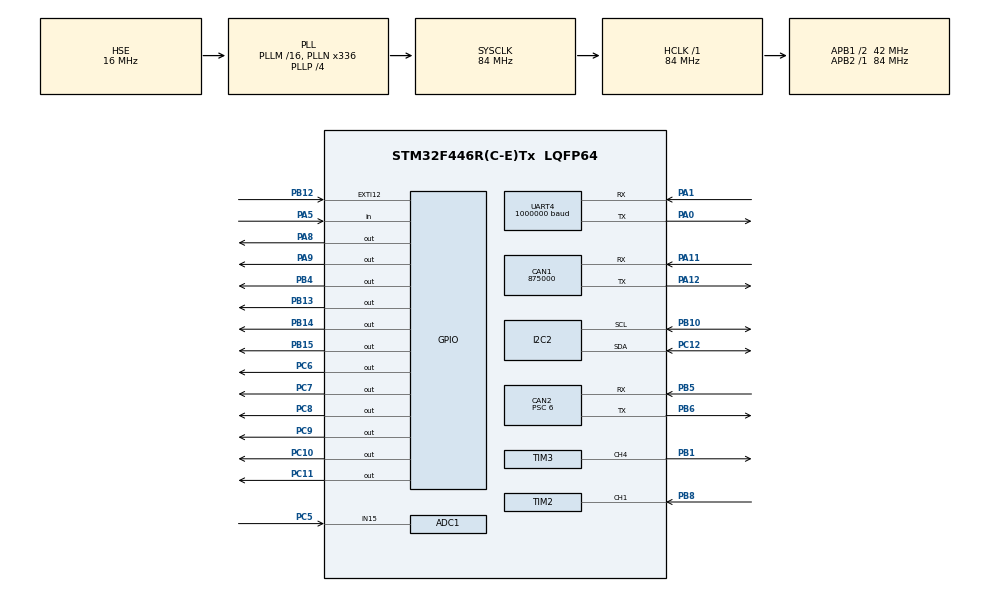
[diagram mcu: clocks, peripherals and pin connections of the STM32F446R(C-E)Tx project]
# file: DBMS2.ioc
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ADC1.Channel-0\#ChannelRegularConversion=ADC_CHANNEL_15
ADC1.NbrOfConversionFlag=1
ADC1.Rank-0\#ChannelRegularConversion=1
ADC1.SamplingTime-0\#ChannelRegularConversion=ADC_SAMPLETIME_3CYCLES
ADC1.master=1
CAN1.CalculateBaudRate=875000
CAN1.CalculateTimeBit=1142
CAN1.CalculateTimeQuantum=380.95238095238096
CAN2.BS1=CAN_BS1_5TQ
CAN2.BS2=CAN_BS2_1TQ
CAN2.CalculateBaudRate=1000000
CAN2.CalculateTimeBit=1000
CAN2.CalculateTimeQuantum=142.85714285714286
CAN2.NART=ENABLE
CAN2.Prescaler=6
IWDG.Prescaler=IWDG_PRESCALER_64
Mcu.Family=STM32F4
Mcu.Name=STM32F446R(C-E)Tx
Mcu.Package=LQFP64
NVIC.CAN2_RX0_IRQn=true\:0\:0\:false\:false\:true\:true\:true\:true
NVIC.CAN2_RX1_IRQn=true\:0\:0\:false\:false\:true\:true\:true\:true
NVIC.CAN2_TX_IRQn=true\:0\:0\:false\:false\:true\:true\:true\:true
NVIC.EXTI15_10_IRQn=true\:2\:0\:true\:false\:true\:true\:true\:true
NVIC.PriorityGroup=NVIC_PRIORITYGROUP_4
NVIC.TIM2_IRQn=true\:0\:0\:false\:false\:true\:true\:true\:true
PA0-WKUP.Mode=Asynchronous
PA0-WKUP.Signal=UART4_TX
PA1.Mode=Asynchronous
PA1.Signal=UART4_RX
PA11.Mode=CAN_Activate
PA11.Signal=CAN1_RX
PA12.Mode=CAN_Activate
PA12.Signal=CAN1_TX
PA5.Signal=GPIO_Input
PA8.Signal=GPIO_Output
PA9.Signal=GPIO_Output
PB1.Signal=S_TIM3_CH4
PB10.Mode=I2C
PB10.Signal=I2C2_SCL
PB12.Signal=GPXTI12
PB13.Signal=GPIO_Output
PB14.Signal=GPIO_Output
PB15.Signal=GPIO_Output
PB4.Signal=GPIO_Output
PB5.Mode=CAN_Activate
PB5.Signal=CAN2_RX
PB6.Mode=CAN_Activate
PB6.Signal=CAN2_TX
PB8.Signal=S_TIM2_CH1_ETR
PB9.Signal=S_TIM2_CH2
PC10.Signal=GPIO_Output
PC11.Signal=GPIO_Output
PC12.Mode=I2C
PC12.Signal=I2C2_SDA
PC5.Signal=ADCx_IN15
PC6.Signal=GPIO_Output
PC7.Signal=GPIO_Output
PC8.Signal=GPIO_Output
PC9.Signal=GPIO_Output
PH0-OSC_IN.Mode=HSE-External-Oscillator
PH0-OSC_IN.Signal=RCC_OSC_IN
PH1-OSC_OUT.Mode=HSE-External-Oscillator
PH1-OSC_OUT.Signal=RCC_OSC_OUT
ProjectManager.HeapSize=0x200
ProjectManager.StackSize=0x400
ProjectManager.TargetToolchain=STM32CubeIDE
RCC.AHBFreq_Value=84000000
RCC.APB1CLKDivider=RCC_HCLK_DIV2
RCC.APB1Freq_Value=42000000
RCC.APB1TimFreq_Value=84000000
RCC.APB2Freq_Value=84000000
RCC.APB2TimFreq_Value=84000000
RCC.CortexFreq_Value=84000000
RCC.HCLKFreq_Value=84000000
RCC.HSE_VALUE=16000000
RCC.PLLN=336
RCC.PLLP=RCC_PLLP_DIV4
RCC.PLLSourceVirtual=RCC_PLLSOURCE_HSE
RCC.SYSCLKFreq_VALUE=84000000
RCC.SYSCLKSource=RCC_SYSCLKSOURCE_PLLCLK
RCC.USBFreq_Value=168000000
RCC.VCOOutputFreq_Value=336000000
SH.ADCx_IN15.0=ADC1_IN15,IN15
SH.S_TIM2_CH1_ETR.0=TIM2_CH1,PWM_Input_1
SH.S_TIM2_CH2.0=TIM2_CH2
SH.S_TIM3_CH4.0=TIM3_CH4,PWM Generation4 CH4
TIM1.Prescaler=83
TIM2.Prescaler=15999
TIM3.Channel-PWM\ Generation4\ CH4=TIM_CHANNEL_4
TIM5.Prescaler=83
UART4.BaudRate=1000000
UART4.VirtualMode=Asynchronous
VP_IWDG_VS_IWDG.Mode=IWDG_Activate
VP_TIM1_VS_ClockSourceINT.Mode=Internal
VP_TIM2_VS_ClockSourceINT.Mode=Internal
VP_TIM3_VS_ClockSourceINT.Mode=Internal
VP_TIM5_VS_ClockSourceINT.Mode=Internal
board=custom

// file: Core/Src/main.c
/* USER CODE BEGIN Header */
/**
 *
 * Distributed BMS      STM32 Generated File
 *
 * Copyright (C) 2025   Texas A&M University
 *
 *                      Justus Languell  <justus@tamu.edu>
 *                      Cam Stone        <cameron28202@tamu.edu>
 *                      Abhinav Akavaram <abhinav.akavaram@tamu.edu>
 *                      Eli Nicksic      <eli.n@tamu.edu>
 */
/* USER CODE END Header */
#include "main.h"

/* USER CODE BEGIN Includes */

#include "dbms/dbms.h"

/* USER CODE END Includes */

ADC_HandleTypeDef hadc1;

CAN_HandleTypeDef hcan1;
CAN_HandleTypeDef hcan2;

I2C_HandleTypeDef hi2c2;

TIM_HandleTypeDef htim1;
TIM_HandleTypeDef htim2;
TIM_HandleTypeDef htim3;
TIM_HandleTypeDef htim5;

UART_HandleTypeDef huart4;

/* USER CODE BEGIN PV */

static DbmsCtx dbms_ctx;

/* USER CODE END PV */

void SystemClock_Config(void);
static void MX_GPIO_Init(void);
static void MX_ADC1_Init(void);
static void MX_CAN2_Init(void);
static void MX_TIM1_Init(void);
static void MX_UART4_Init(void);
static void MX_I2C2_Init(void);
static void MX_TIM2_Init(void);
static void MX_TIM3_Init(void);
static void MX_CAN1_Init(void);
static void MX_TIM5_Init(void);

int main(void)
{

  /* MCU Configuration--------------------------------------------------------*/

  /* Reset of all peripherals, Initializes the Flash interface and the Systick. */
  HAL_Init();

  /* Configure the system clock */
  SystemClock_Config();

  /* Initialize all configured peripherals */
  MX_GPIO_Init();
  MX_ADC1_Init();
  MX_CAN2_Init();
  MX_TIM1_Init();
  MX_UART4_Init();
  MX_I2C2_Init();
  MX_TIM2_Init();
  MX_TIM3_Init();
  MX_CAN1_Init();
  MX_TIM5_Init();
  /* USER CODE BEGIN 2 */

  dbms_ctx.hw.adc = &hadc1;
  dbms_ctx.hw.can = &hcan2;
  dbms_ctx.hw.timer = &htim5;
  dbms_ctx.hw.timer_pwm_1 = &htim3;
  dbms_ctx.hw.uart = &huart4;
  dbms_ctx.hw.i2c = &hi2c2;

  DbmsAlloc(&dbms_ctx);
DbmsInit(&dbms_ctx);

  /* USER CODE END 2 */

  /* Infinite loop */
  /* USER CODE BEGIN WHILE */
  while (1)
  {
    DbmsIter(&dbms_ctx);
    /* USER CODE END WHILE */

  }
}

void SystemClock_Config(void)
{
  RCC_OscInitTypeDef RCC_OscInitStruct = {0};
  RCC_ClkInitTypeDef RCC_ClkInitStruct = {0};

  /** Configure the main internal regulator output voltage
  */
  __HAL_RCC_PWR_CLK_ENABLE();
  __HAL_PWR_VOLTAGESCALING_CONFIG(PWR_REGULATOR_VOLTAGE_SCALE3);

  /** Initializes the RCC Oscillators according to the specified parameters
  * in the RCC_OscInitTypeDef structure.
  */
  RCC_OscInitStruct.OscillatorType = RCC_OSCILLATORTYPE_HSE;
  RCC_OscInitStruct.HSEState = RCC_HSE_ON;
  RCC_OscInitStruct.PLL.PLLState = RCC_PLL_ON;
  RCC_OscInitStruct.PLL.PLLSource = RCC_PLLSOURCE_HSE;
  RCC_OscInitStruct.PLL.PLLM = 16;
  RCC_OscInitStruct.PLL.PLLN = 336;
  RCC_OscInitStruct.PLL.PLLP = RCC_PLLP_DIV4;
  RCC_OscInitStruct.PLL.PLLQ = 2;
  RCC_OscInitStruct.PLL.PLLR = 2;
  if (HAL_RCC_OscConfig(&RCC_OscInitStruct) != HAL_OK)
  {
    Error_Handler();
  }

  /** Initializes the CPU, AHB and APB buses clocks
  */
  RCC_ClkInitStruct.ClockType = RCC_CLOCKTYPE_HCLK|RCC_CLOCKTYPE_SYSCLK
                              |RCC_CLOCKTYPE_PCLK1|RCC_CLOCKTYPE_PCLK2;
  RCC_ClkInitStruct.SYSCLKSource = RCC_SYSCLKSOURCE_PLLCLK;
  RCC_ClkInitStruct.AHBCLKDivider = RCC_SYSCLK_DIV1;
  RCC_ClkInitStruct.APB1CLKDivider = RCC_HCLK_DIV2;
  RCC_ClkInitStruct.APB2CLKDivider = RCC_HCLK_DIV1;

  if (HAL_RCC_ClockConfig(&RCC_ClkInitStruct, FLASH_LATENCY_2) != HAL_OK)
  {
    Error_Handler();
  }
}

static void MX_ADC1_Init(void)
{

  ADC_ChannelConfTypeDef sConfig = {0};

  /** Configure the global features of the ADC (Clock, Resolution, Data Alignment and number of conversion)
  */
  hadc1.Instance = ADC1;
  hadc1.Init.ClockPrescaler = ADC_CLOCK_SYNC_PCLK_DIV4;
  hadc1.Init.Resolution = ADC_RESOLUTION_12B;
  hadc1.Init.ScanConvMode = DISABLE;
  hadc1.Init.ContinuousConvMode = DISABLE;
  hadc1.Init.DiscontinuousConvMode = DISABLE;
  hadc1.Init.ExternalTrigConvEdge = ADC_EXTERNALTRIGCONVEDGE_NONE;
  hadc1.Init.ExternalTrigConv = ADC_SOFTWARE_START;
  hadc1.Init.DataAlign = ADC_DATAALIGN_RIGHT;
  hadc1.Init.NbrOfConversion = 1;
  hadc1.Init.DMAContinuousRequests = DISABLE;
  hadc1.Init.EOCSelection = ADC_EOC_SINGLE_CONV;
  if (HAL_ADC_Init(&hadc1) != HAL_OK)
  {
    Error_Handler();
  }

  /** Configure for the selected ADC regular channel its corresponding rank in the sequencer and its sample time.
  */
  sConfig.Channel = ADC_CHANNEL_15;
  sConfig.Rank = 1;
  sConfig.SamplingTime = ADC_SAMPLETIME_3CYCLES;
  if (HAL_ADC_ConfigChannel(&hadc1, &sConfig) != HAL_OK)
  {
    Error_Handler();
  }

}

static void MX_CAN1_Init(void)
{

  hcan1.Instance = CAN1;
  hcan1.Init.Prescaler = 16;
  hcan1.Init.Mode = CAN_MODE_NORMAL;
  hcan1.Init.SyncJumpWidth = CAN_SJW_1TQ;
  hcan1.Init.TimeSeg1 = CAN_BS1_1TQ;
  hcan1.Init.TimeSeg2 = CAN_BS2_1TQ;
  hcan1.Init.TimeTriggeredMode = DISABLE;
  hcan1.Init.AutoBusOff = DISABLE;
  hcan1.Init.AutoWakeUp = DISABLE;
  hcan1.Init.AutoRetransmission = DISABLE;
  hcan1.Init.ReceiveFifoLocked = DISABLE;
  hcan1.Init.TransmitFifoPriority = DISABLE;
  if (HAL_CAN_Init(&hcan1) != HAL_OK)
  {
    Error_Handler();
  }

}

static void MX_CAN2_Init(void)
{

  /* USER CODE BEGIN CAN2_Init 1 */

  // hcan2.Init.Prescaler | Baud Rate
  // ---------------------+----------
  // 6                    | 1M
  // 12                   | 500K

  /* USER CODE END CAN2_Init 1 */
  hcan2.Instance = CAN2;
  hcan2.Init.Prescaler = 6;
  hcan2.Init.Mode = CAN_MODE_NORMAL;
  hcan2.Init.SyncJumpWidth = CAN_SJW_1TQ;
  hcan2.Init.TimeSeg1 = CAN_BS1_5TQ;
  hcan2.Init.TimeSeg2 = CAN_BS2_1TQ;
  hcan2.Init.TimeTriggeredMode = DISABLE;
  hcan2.Init.AutoBusOff = DISABLE;
  hcan2.Init.AutoWakeUp = DISABLE;
  hcan2.Init.AutoRetransmission = ENABLE;
  hcan2.Init.ReceiveFifoLocked = DISABLE;
  hcan2.Init.TransmitFifoPriority = DISABLE;
  if (HAL_CAN_Init(&hcan2) != HAL_OK)
  {
    Error_Handler();
  }

}

static void MX_I2C2_Init(void)
{

  hi2c2.Instance = I2C2;
  hi2c2.Init.ClockSpeed = 100000;
  hi2c2.Init.DutyCycle = I2C_DUTYCYCLE_2;
  hi2c2.Init.OwnAddress1 = 0;
  hi2c2.Init.AddressingMode = I2C_ADDRESSINGMODE_7BIT;
  hi2c2.Init.DualAddressMode = I2C_DUALADDRESS_DISABLE;
  hi2c2.Init.OwnAddress2 = 0;
  hi2c2.Init.GeneralCallMode = I2C_GENERALCALL_DISABLE;
  hi2c2.Init.NoStretchMode = I2C_NOSTRETCH_DISABLE;
  if (HAL_I2C_Init(&hi2c2) != HAL_OK)
  {
    Error_Handler();
  }

}

static void MX_TIM1_Init(void)
{

  TIM_ClockConfigTypeDef sClockSourceConfig = {0};
  TIM_MasterConfigTypeDef sMasterConfig = {0};

  htim1.Instance = TIM1;
  htim1.Init.Prescaler = 83;
  htim1.Init.CounterMode = TIM_COUNTERMODE_UP;
  htim1.Init.Period = 65535;
  htim1.Init.ClockDivision = TIM_CLOCKDIVISION_DIV1;
  htim1.Init.RepetitionCounter = 0;
  htim1.Init.AutoReloadPreload = TIM_AUTORELOAD_PRELOAD_DISABLE;
  if (HAL_TIM_Base_Init(&htim1) != HAL_OK)
  {
    Error_Handler();
  }
  sClockSourceConfig.ClockSource = TIM_CLOCKSOURCE_INTERNAL;
  if (HAL_TIM_ConfigClockSource(&htim1, &sClockSourceConfig) != HAL_OK)
  {
    Error_Handler();
  }
  sMasterConfig.MasterOutputTrigger = TIM_TRGO_RESET;
  sMasterConfig.MasterSlaveMode = TIM_MASTERSLAVEMODE_DISABLE;
  if (HAL_TIMEx_MasterConfigSynchronization(&htim1, &sMasterConfig) != HAL_OK)
  {
    Error_Handler();
  }

}

static void MX_TIM2_Init(void)
{

  TIM_ClockConfigTypeDef sClockSourceConfig = {0};
  TIM_SlaveConfigTypeDef sSlaveConfig = {0};
  TIM_IC_InitTypeDef sConfigIC = {0};
  TIM_MasterConfigTypeDef sMasterConfig = {0};

  htim2.Instance = TIM2;
  htim2.Init.Prescaler = 15999;
  htim2.Init.CounterMode = TIM_COUNTERMODE_UP;
  htim2.Init.Period = 4294967295;
  htim2.Init.ClockDivision = TIM_CLOCKDIVISION_DIV1;
  htim2.Init.AutoReloadPreload = TIM_AUTORELOAD_PRELOAD_DISABLE;
  if (HAL_TIM_Base_Init(&htim2) != HAL_OK)
  {
    Error_Handler();
  }
  sClockSourceConfig.ClockSource = TIM_CLOCKSOURCE_INTERNAL;
  if (HAL_TIM_ConfigClockSource(&htim2, &sClockSourceConfig) != HAL_OK)
  {
    Error_Handler();
  }
  if (HAL_TIM_IC_Init(&htim2) != HAL_OK)
  {
    Error_Handler();
  }
  sSlaveConfig.SlaveMode = TIM_SLAVEMODE_RESET;
  sSlaveConfig.InputTrigger = TIM_TS_TI1FP1;
  sSlaveConfig.TriggerPolarity = TIM_INPUTCHANNELPOLARITY_RISING;
  sSlaveConfig.TriggerPrescaler = TIM_ICPSC_DIV1;
  sSlaveConfig.TriggerFilter = 0;
  if (HAL_TIM_SlaveConfigSynchro(&htim2, &sSlaveConfig) != HAL_OK)
  {
    Error_Handler();
  }
  sConfigIC.ICPolarity = TIM_INPUTCHANNELPOLARITY_RISING;
  sConfigIC.ICSelection = TIM_ICSELECTION_DIRECTTI;
  sConfigIC.ICPrescaler = TIM_ICPSC_DIV1;
  sConfigIC.ICFilter = 0;
  if (HAL_TIM_IC_ConfigChannel(&htim2, &sConfigIC, TIM_CHANNEL_1) != HAL_OK)
  {
    Error_Handler();
  }
  sConfigIC.ICPolarity = TIM_INPUTCHANNELPOLARITY_FALLING;
  sConfigIC.ICSelection = TIM_ICSELECTION_INDIRECTTI;
  if (HAL_TIM_IC_ConfigChannel(&htim2, &sConfigIC, TIM_CHANNEL_2) != HAL_OK)
  {
    Error_Handler();
  }
  sMasterConfig.MasterOutputTrigger = TIM_TRGO_RESET;
  sMasterConfig.MasterSlaveMode = TIM_MASTERSLAVEMODE_DISABLE;
  if (HAL_TIMEx_MasterConfigSynchronization(&htim2, &sMasterConfig) != HAL_OK)
  {
    Error_Handler();
  }
  /* USER CODE BEGIN TIM2_Init 2 */
  HAL_TIM_IC_Start_IT(&htim2, TIM_CHANNEL_1);
  HAL_TIM_IC_Start_IT(&htim2, TIM_CHANNEL_2);
  /* USER CODE END TIM2_Init 2 */

}

static void MX_TIM3_Init(void)
{

  TIM_ClockConfigTypeDef sClockSourceConfig = {0};
  TIM_MasterConfigTypeDef sMasterConfig = {0};
  TIM_OC_InitTypeDef sConfigOC = {0};

  htim3.Instance = TIM3;
  htim3.Init.Prescaler = 0;
  htim3.Init.CounterMode = TIM_COUNTERMODE_UP;
  htim3.Init.Period = 65535;
  htim3.Init.ClockDivision = TIM_CLOCKDIVISION_DIV1;
  htim3.Init.AutoReloadPreload = TIM_AUTORELOAD_PRELOAD_DISABLE;
  if (HAL_TIM_Base_Init(&htim3) != HAL_OK)
  {
    Error_Handler();
  }
  sClockSourceConfig.ClockSource = TIM_CLOCKSOURCE_INTERNAL;
  if (HAL_TIM_ConfigClockSource(&htim3, &sClockSourceConfig) != HAL_OK)
  {
    Error_Handler();
  }
  if (HAL_TIM_PWM_Init(&htim3) != HAL_OK)
  {
    Error_Handler();
  }
  sMasterConfig.MasterOutputTrigger = TIM_TRGO_RESET;
  sMasterConfig.MasterSlaveMode = TIM_MASTERSLAVEMODE_DISABLE;
  if (HAL_TIMEx_MasterConfigSynchronization(&htim3, &sMasterConfig) != HAL_OK)
  {
    Error_Handler();
  }
  sConfigOC.OCMode = TIM_OCMODE_PWM1;
  sConfigOC.Pulse = 0;
  sConfigOC.OCPolarity = TIM_OCPOLARITY_HIGH;
  sConfigOC.OCFastMode = TIM_OCFAST_DISABLE;
  if (HAL_TIM_PWM_ConfigChannel(&htim3, &sConfigOC, TIM_CHANNEL_4) != HAL_OK)
  {
    Error_Handler();
  }
  HAL_TIM_MspPostInit(&htim3);

}

static void MX_TIM5_Init(void)
{

  TIM_ClockConfigTypeDef sClockSourceConfig = {0};
  TIM_MasterConfigTypeDef sMasterConfig = {0};

  htim5.Instance = TIM5;
  htim5.Init.Prescaler = 83;
  htim5.Init.CounterMode = TIM_COUNTERMODE_UP;
  htim5.Init.Period = 4294967295;
  htim5.Init.ClockDivision = TIM_CLOCKDIVISION_DIV1;
  htim5.Init.AutoReloadPreload = TIM_AUTORELOAD_PRELOAD_DISABLE;
  if (HAL_TIM_Base_Init(&htim5) != HAL_OK)
  {
    Error_Handler();
  }
  sClockSourceConfig.ClockSource = TIM_CLOCKSOURCE_INTERNAL;
  if (HAL_TIM_ConfigClockSource(&htim5, &sClockSourceConfig) != HAL_OK)
  {
    Error_Handler();
  }
  sMasterConfig.MasterOutputTrigger = TIM_TRGO_RESET;
  sMasterConfig.MasterSlaveMode = TIM_MASTERSLAVEMODE_DISABLE;
  if (HAL_TIMEx_MasterConfigSynchronization(&htim5, &sMasterConfig) != HAL_OK)
  {
    Error_Handler();
  }

}

static void MX_UART4_Init(void)
{

  huart4.Instance = UART4;
  huart4.Init.BaudRate = 1000000;
  huart4.Init.WordLength = UART_WORDLENGTH_8B;
  huart4.Init.StopBits = UART_STOPBITS_1;
  huart4.Init.Parity = UART_PARITY_NONE;
  huart4.Init.Mode = UART_MODE_TX_RX;
  huart4.Init.HwFlowCtl = UART_HWCONTROL_NONE;
  huart4.Init.OverSampling = UART_OVERSAMPLING_16;
  if (HAL_UART_Init(&huart4) != HAL_OK)
  {
    Error_Handler();
  }

}

static void MX_GPIO_Init(void)
{
  GPIO_InitTypeDef GPIO_InitStruct = {0};

  /* GPIO Ports Clock Enable */
  __HAL_RCC_GPIOH_CLK_ENABLE();
  __HAL_RCC_GPIOA_CLK_ENABLE();
  __HAL_RCC_GPIOC_CLK_ENABLE();
  __HAL_RCC_GPIOB_CLK_ENABLE();

  /*Configure GPIO pin Output Level */
  HAL_GPIO_WritePin(GPIOB, GPIO_PIN_13|GPIO_PIN_14|GPIO_PIN_15|GPIO_PIN_4, GPIO_PIN_RESET);

  /*Configure GPIO pin Output Level */
  HAL_GPIO_WritePin(GPIOC, GPIO_PIN_6|GPIO_PIN_7|GPIO_PIN_8|GPIO_PIN_9
                          |GPIO_PIN_10|GPIO_PIN_11, GPIO_PIN_RESET);

  /*Configure GPIO pin Output Level */
  HAL_GPIO_WritePin(GPIOA, GPIO_PIN_8|GPIO_PIN_9, GPIO_PIN_RESET);

  /*Configure GPIO pin : PA5 */
  GPIO_InitStruct.Pin = GPIO_PIN_5;
  GPIO_InitStruct.Mode = GPIO_MODE_INPUT;
  GPIO_InitStruct.Pull = GPIO_NOPULL;
  HAL_GPIO_Init(GPIOA, &GPIO_InitStruct);

  /*Configure GPIO pin : PB12 */
  GPIO_InitStruct.Pin = GPIO_PIN_12;
  GPIO_InitStruct.Mode = GPIO_MODE_IT_RISING;
  GPIO_InitStruct.Pull = GPIO_NOPULL;
  HAL_GPIO_Init(GPIOB, &GPIO_InitStruct);

  /*Configure GPIO pins : PB13 PB14 PB15 PB4 */
  GPIO_InitStruct.Pin = GPIO_PIN_13|GPIO_PIN_14|GPIO_PIN_15|GPIO_PIN_4;
  GPIO_InitStruct.Mode = GPIO_MODE_OUTPUT_PP;
  GPIO_InitStruct.Pull = GPIO_NOPULL;
  GPIO_InitStruct.Speed = GPIO_SPEED_FREQ_LOW;
  HAL_GPIO_Init(GPIOB, &GPIO_InitStruct);

  /*Configure GPIO pins : PC6 PC7 PC8 PC9
                           PC10 PC11 */
  GPIO_InitStruct.Pin = GPIO_PIN_6|GPIO_PIN_7|GPIO_PIN_8|GPIO_PIN_9
                          |GPIO_PIN_10|GPIO_PIN_11;
  GPIO_InitStruct.Mode = GPIO_MODE_OUTPUT_PP;
  GPIO_InitStruct.Pull = GPIO_NOPULL;
  GPIO_InitStruct.Speed = GPIO_SPEED_FREQ_LOW;
  HAL_GPIO_Init(GPIOC, &GPIO_InitStruct);

  /*Configure GPIO pins : PA8 PA9 */
  GPIO_InitStruct.Pin = GPIO_PIN_8|GPIO_PIN_9;
  GPIO_InitStruct.Mode = GPIO_MODE_OUTPUT_PP;
  GPIO_InitStruct.Pull = GPIO_NOPULL;
  GPIO_InitStruct.Speed = GPIO_SPEED_FREQ_LOW;
  HAL_GPIO_Init(GPIOA, &GPIO_InitStruct);

  /* EXTI interrupt init*/
  HAL_NVIC_SetPriority(EXTI15_10_IRQn, 2, 0);
  HAL_NVIC_EnableIRQ(EXTI15_10_IRQn);

}

/* USER CODE BEGIN 4 */
void HAL_GPIO_EXTI_Callback(uint16_t GPIO_Pin)
{
    if (GPIO_Pin == GPIO_PIN_12)
    {
        GPIO_PinState pin_state = HAL_GPIO_ReadPin(GPIOB, GPIO_PIN_12);
        if (pin_state == GPIO_PIN_SET)
        {
            dbms_ctx.qstats.historic_accumulated_loss += dbms_ctx.qstats.accumulated_loss;
            dbms_ctx.qstats.accumulated_loss = 0;
            // CanLog(&dbms_ctx, "QD = %d\n", (uint32_t)(dbms_ctx.qstats.historic_accumulated_loss * 1000));
            // CanLog(&dbms_ctx, "bye\n");
            dbms_ctx.qstats.initial = 99;//test
            dbms_ctx.stats.n_int_shutdowns++;
            WriteEEPROM(&dbms_ctx, EEPROM_DEBUG, &dbms_ctx.stats.n_int_shutdowns, 1);
            // SaveQStats(&dbms_ctx);

            //dbms_ctx.shutdown_requested = true;
            //dbms_ctx.stats.shutdown_start_us = GetUs(&dbms_ctx);
        }
        else
        {
            dbms_ctx.flags.shutdown_requested = false;
        }
    }
}

void HAL_CAN_RxFifo0MsgPendingCallback(CAN_HandleTypeDef *hcan)
{
    CAN_RxHeaderTypeDef rxHeader;
    uint8_t rxData[8] = { 0xff, 0xff, 0xff, 0xff, 0xff, 0xff, 0xff, 0xff };

    if (HAL_CAN_GetRxMessage(hcan, CAN_RX_FIFO0, &rxHeader, rxData) == HAL_OK)
    {
        // Manually correct IDE / RTR fields
        // // Not sure if necessary. TODO: double check
        // uint32_t rir = hcan->Instance->sFIFOMailBox[0].RIR;

        // rxHeader.IDE = (rir & CAN_RI0R_IDE) ? CAN_ID_EXT : CAN_ID_STD;
        // rxHeader.RTR = (rir & CAN_RI0R_RTR) ? CAN_RTR_REMOTE : CAN_RTR_DATA;

        // // Correctly extract IDs depending on IDE
        // if (rxHeader.IDE == CAN_ID_STD)
        //     rxHeader.StdId = (rir & CAN_RI0R_STID) >> CAN_TI0R_STID_Pos;
        // else
        //     rxHeader.ExtId = (rir & (CAN_RI0R_EXID | CAN_RI0R_STID)) >> CAN_RI0R_EXID_Pos;

        DbmsCanRx(&dbms_ctx, CAN_RX_0, rxHeader, rxData);
    }
}

void HAL_CAN_RxFifo1MsgPendingCallback(CAN_HandleTypeDef *hcan)
{
    CAN_RxHeaderTypeDef rxHeader;
    uint8_t rxData[8] = { 0xff, 0xff, 0xff, 0xff, 0xff, 0xff, 0xff, 0xff };

    if (HAL_CAN_GetRxMessage(hcan, CAN_RX_FIFO1, &rxHeader, rxData) == HAL_OK)
    {
        // // Manually correct IDE / RTR fields
        // uint32_t rir = hcan->Instance->sFIFOMailBox[1].RIR;

        // rxHeader.IDE = (rir & CAN_RI0R_IDE) ? CAN_ID_EXT : CAN_ID_STD;
        // rxHeader.RTR = (rir & CAN_RI0R_RTR) ? CAN_RTR_REMOTE : CAN_RTR_DATA;

        // if (rxHeader.IDE == CAN_ID_STD)
        //     rxHeader.StdId = (rir & CAN_RI0R_STID) >> CAN_TI0R_STID_Pos;
        // else
        //     rxHeader.ExtId = (rir & (CAN_RI0R_EXID | CAN_RI0R_STID)) >> CAN_RI0R_EXID_Pos;

        DbmsCanRx(&dbms_ctx, CAN_RX_1, rxHeader, rxData);
    }
}

void HAL_TIM_IC_CaptureCallback(TIM_HandleTypeDef *htim)
{
    if (htim->Instance == TIM2)
    {
        uint32_t captured_value = HAL_TIM_ReadCapturedValue(htim, TIM_CHANNEL_1);
        if (captured_value)
        {
            dbms_ctx.j1772.cp_duty_cycle = 100 * HAL_TIM_ReadCapturedValue(htim, TIM_CHANNEL_2) / captured_value; // if 1 µs timer tick
        }
        dbms_ctx.j1772.last_cp_pwm_read = HAL_GetTick();
        //update receive ts
    }
}

/* USER CODE END 4 */

void Error_Handler(void)
{
  /* USER CODE BEGIN Error_Handler_Debug */
  /* User can add his own implementation to report the HAL error return state */
  __disable_irq();

  DbmsErr(&dbms_ctx);

  while (1)
  {
  }
  /* USER CODE END Error_Handler_Debug */
}
